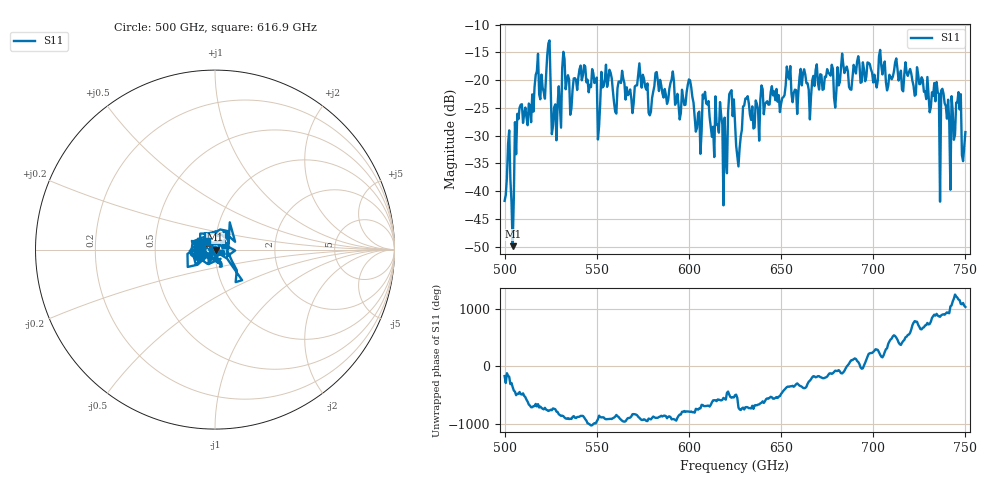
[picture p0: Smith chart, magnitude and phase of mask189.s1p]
!Created with skrf (http://scikit-rf.org).
# GHz S MA R 50.0
!freq magS11 angS11
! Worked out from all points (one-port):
!   401 points, 500 GHz to 750 GHz, reference 50 ohm
!   lowest |S11| = -49.9 dB at 504.4 GHz (marker M1), VSWR 1.01, Z = 50.3 - j0.0165 ohm
!   |S11| at or under -10 dB: start of sweep to end of sweep
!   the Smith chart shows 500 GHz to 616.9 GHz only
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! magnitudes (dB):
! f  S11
! 500 GHz  -41.7
! 501.9 GHz  -31.5
! 504.4 GHz  -49.9
! 508.1 GHz  -25.0
! 523.8 GHz  -13.4
! 526.9 GHz  -24.9
! 531.2 GHz  -17.8
! 548.8 GHz  -20.5
! 551.9 GHz  -24.2
! 553.8 GHz  -21.1
! 562.5 GHz  -20.2
! 593.8 GHz  -22.5
! 600.6 GHz  -20.0
! 605.6 GHz  -25.7
! 608.8 GHz  -22.1
! 616.9 GHz  -23.9
! 619.4 GHz  -26.8
! 622.5 GHz  -22.1
! 625 GHz  -27.7
! 626.9 GHz  -35.5
! 630.6 GHz  -23.3
! 656.2 GHz  -24.0
! 687.5 GHz  -21.7
! 718.8 GHz  -19.2
! 738.1 GHz  -22.4
! 743.1 GHz  -25.6
! 746.2 GHz  -22.2
! 750 GHz  -29.4
